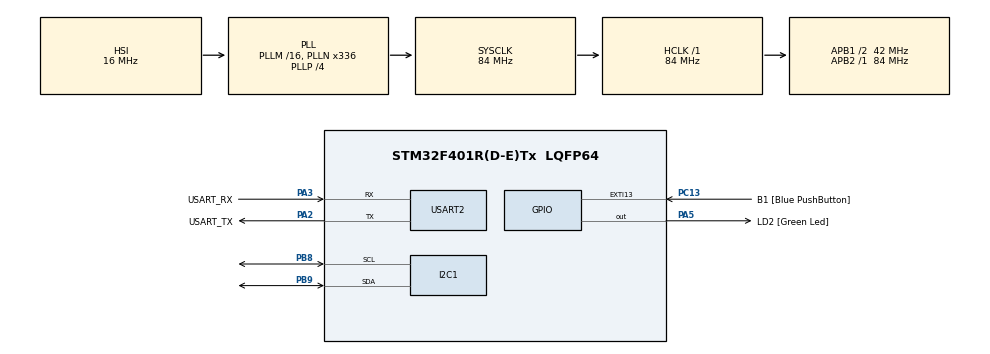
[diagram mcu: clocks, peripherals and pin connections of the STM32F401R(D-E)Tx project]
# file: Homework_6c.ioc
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Dma.I2C1_RX.0.Direction=DMA_PERIPH_TO_MEMORY
Dma.I2C1_RX.0.FIFOMode=DMA_FIFOMODE_DISABLE
Dma.I2C1_RX.0.Instance=DMA1_Stream0
Dma.I2C1_RX.0.MemDataAlignment=DMA_MDATAALIGN_BYTE
Dma.I2C1_RX.0.MemInc=DMA_MINC_ENABLE
Dma.I2C1_RX.0.Mode=DMA_NORMAL
Dma.I2C1_RX.0.PeriphDataAlignment=DMA_PDATAALIGN_BYTE
Dma.I2C1_RX.0.PeriphInc=DMA_PINC_DISABLE
Dma.I2C1_RX.0.Priority=DMA_PRIORITY_LOW
Dma.Request0=I2C1_RX
Dma.Request1=USART2_TX
Dma.USART2_TX.1.Direction=DMA_MEMORY_TO_PERIPH
Dma.USART2_TX.1.FIFOMode=DMA_FIFOMODE_DISABLE
Dma.USART2_TX.1.Instance=DMA1_Stream6
Dma.USART2_TX.1.MemDataAlignment=DMA_MDATAALIGN_BYTE
Dma.USART2_TX.1.MemInc=DMA_MINC_ENABLE
Dma.USART2_TX.1.Mode=DMA_NORMAL
Dma.USART2_TX.1.PeriphDataAlignment=DMA_PDATAALIGN_BYTE
Dma.USART2_TX.1.PeriphInc=DMA_PINC_DISABLE
Dma.USART2_TX.1.Priority=DMA_PRIORITY_LOW
Mcu.Family=STM32F4
Mcu.Name=STM32F401R(D-E)Tx
Mcu.Package=LQFP64
NVIC.DMA1_Stream0_IRQn=true\:0\:0\:false\:false\:true\:false\:true\:true
NVIC.DMA1_Stream6_IRQn=true\:0\:0\:false\:false\:true\:false\:true\:true
NVIC.I2C1_EV_IRQn=true\:0\:0\:false\:false\:true\:true\:true\:true
NVIC.PriorityGroup=NVIC_PRIORITYGROUP_0
NVIC.TIM2_IRQn=true\:0\:0\:false\:false\:true\:true\:true\:true
NVIC.USART2_IRQn=true\:0\:0\:false\:false\:true\:true\:true\:true
PA13.GPIO_Label=TMS
PA13.Mode=Serial_Wire
PA13.Signal=SYS_JTMS-SWDIO
PA14.GPIO_Label=TCK
PA14.Mode=Serial_Wire
PA14.Signal=SYS_JTCK-SWCLK
PA2.GPIO_Label=USART_TX
PA2.GPIO_Mode=GPIO_MODE_AF_PP
PA2.GPIO_PuPd=GPIO_NOPULL
PA2.GPIO_Speed=GPIO_SPEED_FREQ_LOW
PA2.Mode=Asynchronous
PA2.Signal=USART2_TX
PA3.GPIO_Label=USART_RX
PA3.GPIO_Mode=GPIO_MODE_AF_PP
PA3.GPIO_PuPd=GPIO_NOPULL
PA3.GPIO_Speed=GPIO_SPEED_FREQ_LOW
PA3.Mode=Asynchronous
PA3.Signal=USART2_RX
PA5.GPIO_Label=LD2 [Green Led]
PA5.GPIO_Mode=GPIO_MODE_OUTPUT_PP
PA5.GPIO_PuPd=GPIO_NOPULL
PA5.GPIO_Speed=GPIO_SPEED_FREQ_LOW
PA5.Signal=GPIO_Output
PB3.GPIO_Label=SWO
PB3.Signal=SYS_JTDO-SWO
PB8.Mode=I2C
PB8.Signal=I2C1_SCL
PB9.Mode=I2C
PB9.Signal=I2C1_SDA
PC13-ANTI_TAMP.GPIO_Label=B1 [Blue PushButton]
PC13-ANTI_TAMP.GPIO_ModeDefaultEXTI=GPIO_MODE_IT_FALLING
PC13-ANTI_TAMP.GPIO_PuPd=GPIO_NOPULL
PC13-ANTI_TAMP.Signal=GPXTI13
PC14-OSC32_IN.Mode=LSE-External-Oscillator
PC14-OSC32_IN.Signal=RCC_OSC32_IN
PC15-OSC32_OUT.Mode=LSE-External-Oscillator
PC15-OSC32_OUT.Signal=RCC_OSC32_OUT
PH0\ -\ OSC_IN.Mode=HSE-External-Clock-Source
PH0\ -\ OSC_IN.Signal=RCC_OSC_IN
PH1\ -\ OSC_OUT.Mode=HSE-External-Clock-Source
PH1\ -\ OSC_OUT.Signal=RCC_OSC_OUT
ProjectManager.HeapSize=0x200
ProjectManager.StackSize=0x400
ProjectManager.TargetToolchain=STM32CubeIDE
RCC.48MHZClocksFreq_Value=48000000
RCC.AHBFreq_Value=84000000
RCC.APB1CLKDivider=RCC_HCLK_DIV2
RCC.APB1Freq_Value=42000000
RCC.APB1TimFreq_Value=84000000
RCC.APB2Freq_Value=84000000
RCC.APB2TimFreq_Value=84000000
RCC.CortexFreq_Value=84000000
RCC.HCLKFreq_Value=84000000
RCC.HSE_VALUE=8000000
RCC.HSI_VALUE=16000000
RCC.PLLN=336
RCC.PLLP=RCC_PLLP_DIV4
RCC.PLLQ=7
RCC.SYSCLKFreq_VALUE=84000000
RCC.SYSCLKSource=RCC_SYSCLKSOURCE_PLLCLK
RCC.VCOOutputFreq_Value=336000000
TIM2.Period=10000-1
TIM2.Prescaler=8400-1
USART2.VirtualMode=VM_ASYNC
VP_TIM2_VS_ClockSourceINT.Mode=Internal
board=NUCLEO-F401RE

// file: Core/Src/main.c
/* USER CODE BEGIN Header */
/**
  ******************************************************************************
  * @file           : main.c
  * @brief          : Main program body
  ******************************************************************************
  * @attention
  *
  * Copyright (c) 2023 STMicroelectronics.
  * All rights reserved.
  *
  * This software is licensed under terms that can be found in the LICENSE file
  * in the root directory of this software component.
  * If no LICENSE file comes with this software, it is provided AS-IS.
  *
  ******************************************************************************
  */
/* USER CODE END Header */
#include "main.h"

/* USER CODE BEGIN Includes */
# include "stdio.h"
/* USER CODE END Includes */

I2C_HandleTypeDef hi2c1;
DMA_HandleTypeDef hdma_i2c1_rx;

TIM_HandleTypeDef htim2;

UART_HandleTypeDef huart2;
DMA_HandleTypeDef hdma_usart2_tx;

/* USER CODE BEGIN PV */
//LIS2DE
uint8_t LIS2DE_ADDRESS = 0b01010000;
//LIS2DE12
uint8_t LIS2DE12_ADDRESS = 0b00110000;

//Accelerometer is set to LIS2DE
uint8_t ACC_ADDRESS = 0b01010000;

// reg address, 1Hz + normal mode + XYZ enabled
uint8_t CTRL_REG1[] = {0x20, 0b00010111};

// reg address, HPF action configured in normal mode but bypassed, to select it set bit 3 (the fourth one) to 1
uint8_t CTRL_REG2[] = {0x21, 0b10110000};

// reg address, continuous update + 2g FSR + self test disabled (default value at startup)
uint8_t CTRL_REG4[] = {0x23, 0b00000000};

uint8_t INITIAL_ADDR = 0x29 | 0x80; // address of OUT_X, auto-increment enabled

char string[64];
int length = 0;
float acc_g_x, acc_g_y, acc_g_z = 0;
int8_t acc_data[5] = {0};

uint8_t timeout_ms = 50;

/* USER CODE END PV */

void SystemClock_Config(void);
static void MX_GPIO_Init(void);
static void MX_DMA_Init(void);
static void MX_USART2_UART_Init(void);
static void MX_I2C1_Init(void);
static void MX_TIM2_Init(void);

/* USER CODE BEGIN 0 */
void HAL_TIM_PeriodElapsedCallback(TIM_HandleTypeDef *htim){
	if (htim==&htim2){

		// Specify where to start reading
		HAL_I2C_Master_Transmit(&hi2c1, ACC_ADDRESS, &INITIAL_ADDR, 1, timeout_ms);
		HAL_I2C_Master_Receive_DMA(&hi2c1, ACC_ADDRESS+1, (uint8_t *)&acc_data, sizeof(acc_data));
	}
}

void HAL_I2C_MasterRxCpltCallback(I2C_HandleTypeDef *hi2c) {
	if (hi2c==&hi2c1){

		acc_g_x = acc_data[0] / 64.0;
		acc_g_y = acc_data[2] / 64.0;
		acc_g_z = acc_data[4] / 64.0;

		length = snprintf(string, sizeof(string), "Acceleration [g]:\r\n\n X = %+.2f g\r\n Y = %+.2f g\r\n Z = %+.2f g\r\n\n\n", acc_g_x, acc_g_y, acc_g_z);
		// the + sign ensures the sign is always printed

		HAL_UART_Transmit_DMA(&huart2, (uint8_t *)string, length);
	}
}
/* USER CODE END 0 */

int main(void)
{

  /* MCU Configuration--------------------------------------------------------*/

  /* Reset of all peripherals, Initializes the Flash interface and the Systick. */
  HAL_Init();

  /* Configure the system clock */
  SystemClock_Config();

  /* Initialize all configured peripherals */
  MX_GPIO_Init();
  MX_DMA_Init();
  MX_USART2_UART_Init();
  MX_I2C1_Init();
  MX_TIM2_Init();
  /* USER CODE BEGIN 2 */

  // Accelerometer initialization
  if(HAL_I2C_Master_Transmit(&hi2c1, LIS2DE_ADDRESS, CTRL_REG1, sizeof(CTRL_REG1), timeout_ms) == HAL_OK){
	  length = snprintf(string, sizeof(string), "LIS2DE found.\r\n");
	  HAL_I2C_Master_Transmit(&hi2c1, LIS2DE_ADDRESS, CTRL_REG2, sizeof(CTRL_REG2), timeout_ms);
	  // if the I2C writer returns OK, then we know that there is a device with the LIS2DE address on the I2C bus, and we can continue
  } else if(HAL_I2C_Master_Transmit(&hi2c1, LIS2DE12_ADDRESS, CTRL_REG1, sizeof(CTRL_REG1), timeout_ms) == HAL_OK){
  	  length = snprintf(string, sizeof(string), "LIS2DE12 found.\r\n");
  	  ACC_ADDRESS = LIS2DE12_ADDRESS;
	  // if not, we switch to LIS2DE12 and try again
  } else {
	  length = snprintf(string, sizeof(string), "I can't find an accelerometer on the I2C bus.\r\n");
  }

  HAL_UART_Transmit(&huart2, (uint8_t *)&string, length, timeout_ms);

  // Once the accelerometer is identified and recognised, the timer can be started
  HAL_TIM_Base_Start_IT(&htim2);

  /* USER CODE END 2 */

  /* Infinite loop */
  while (1)
  {

  }
}

void SystemClock_Config(void)
{
  RCC_OscInitTypeDef RCC_OscInitStruct = {0};
  RCC_ClkInitTypeDef RCC_ClkInitStruct = {0};

  /** Configure the main internal regulator output voltage
  */
  __HAL_RCC_PWR_CLK_ENABLE();
  __HAL_PWR_VOLTAGESCALING_CONFIG(PWR_REGULATOR_VOLTAGE_SCALE2);

  /** Initializes the RCC Oscillators according to the specified parameters
  * in the RCC_OscInitTypeDef structure.
  */
  RCC_OscInitStruct.OscillatorType = RCC_OSCILLATORTYPE_HSI;
  RCC_OscInitStruct.HSIState = RCC_HSI_ON;
  RCC_OscInitStruct.HSICalibrationValue = RCC_HSICALIBRATION_DEFAULT;
  RCC_OscInitStruct.PLL.PLLState = RCC_PLL_ON;
  RCC_OscInitStruct.PLL.PLLSource = RCC_PLLSOURCE_HSI;
  RCC_OscInitStruct.PLL.PLLM = 16;
  RCC_OscInitStruct.PLL.PLLN = 336;
  RCC_OscInitStruct.PLL.PLLP = RCC_PLLP_DIV4;
  RCC_OscInitStruct.PLL.PLLQ = 7;
  if (HAL_RCC_OscConfig(&RCC_OscInitStruct) != HAL_OK)
  {
    Error_Handler();
  }

  /** Initializes the CPU, AHB and APB buses clocks
  */
  RCC_ClkInitStruct.ClockType = RCC_CLOCKTYPE_HCLK|RCC_CLOCKTYPE_SYSCLK
                              |RCC_CLOCKTYPE_PCLK1|RCC_CLOCKTYPE_PCLK2;
  RCC_ClkInitStruct.SYSCLKSource = RCC_SYSCLKSOURCE_PLLCLK;
  RCC_ClkInitStruct.AHBCLKDivider = RCC_SYSCLK_DIV1;
  RCC_ClkInitStruct.APB1CLKDivider = RCC_HCLK_DIV2;
  RCC_ClkInitStruct.APB2CLKDivider = RCC_HCLK_DIV1;

  if (HAL_RCC_ClockConfig(&RCC_ClkInitStruct, FLASH_LATENCY_2) != HAL_OK)
  {
    Error_Handler();
  }
}

static void MX_I2C1_Init(void)
{

  hi2c1.Instance = I2C1;
  hi2c1.Init.ClockSpeed = 100000;
  hi2c1.Init.DutyCycle = I2C_DUTYCYCLE_2;
  hi2c1.Init.OwnAddress1 = 0;
  hi2c1.Init.AddressingMode = I2C_ADDRESSINGMODE_7BIT;
  hi2c1.Init.DualAddressMode = I2C_DUALADDRESS_DISABLE;
  hi2c1.Init.OwnAddress2 = 0;
  hi2c1.Init.GeneralCallMode = I2C_GENERALCALL_DISABLE;
  hi2c1.Init.NoStretchMode = I2C_NOSTRETCH_DISABLE;
  if (HAL_I2C_Init(&hi2c1) != HAL_OK)
  {
    Error_Handler();
  }

}

static void MX_TIM2_Init(void)
{

  TIM_ClockConfigTypeDef sClockSourceConfig = {0};
  TIM_MasterConfigTypeDef sMasterConfig = {0};

  htim2.Instance = TIM2;
  htim2.Init.Prescaler = 8400-1;
  htim2.Init.CounterMode = TIM_COUNTERMODE_UP;
  htim2.Init.Period = 10000-1;
  htim2.Init.ClockDivision = TIM_CLOCKDIVISION_DIV1;
  htim2.Init.AutoReloadPreload = TIM_AUTORELOAD_PRELOAD_DISABLE;
  if (HAL_TIM_Base_Init(&htim2) != HAL_OK)
  {
    Error_Handler();
  }
  sClockSourceConfig.ClockSource = TIM_CLOCKSOURCE_INTERNAL;
  if (HAL_TIM_ConfigClockSource(&htim2, &sClockSourceConfig) != HAL_OK)
  {
    Error_Handler();
  }
  sMasterConfig.MasterOutputTrigger = TIM_TRGO_RESET;
  sMasterConfig.MasterSlaveMode = TIM_MASTERSLAVEMODE_DISABLE;
  if (HAL_TIMEx_MasterConfigSynchronization(&htim2, &sMasterConfig) != HAL_OK)
  {
    Error_Handler();
  }

}

static void MX_USART2_UART_Init(void)
{

  huart2.Instance = USART2;
  huart2.Init.BaudRate = 115200;
  huart2.Init.WordLength = UART_WORDLENGTH_8B;
  huart2.Init.StopBits = UART_STOPBITS_1;
  huart2.Init.Parity = UART_PARITY_NONE;
  huart2.Init.Mode = UART_MODE_TX_RX;
  huart2.Init.HwFlowCtl = UART_HWCONTROL_NONE;
  huart2.Init.OverSampling = UART_OVERSAMPLING_16;
  if (HAL_UART_Init(&huart2) != HAL_OK)
  {
    Error_Handler();
  }

}

static void MX_DMA_Init(void)
{

  /* DMA controller clock enable */
  __HAL_RCC_DMA1_CLK_ENABLE();

  /* DMA interrupt init */
  /* DMA1_Stream0_IRQn interrupt configuration */
  HAL_NVIC_SetPriority(DMA1_Stream0_IRQn, 0, 0);
  HAL_NVIC_EnableIRQ(DMA1_Stream0_IRQn);
  /* DMA1_Stream6_IRQn interrupt configuration */
  HAL_NVIC_SetPriority(DMA1_Stream6_IRQn, 0, 0);
  HAL_NVIC_EnableIRQ(DMA1_Stream6_IRQn);

}

static void MX_GPIO_Init(void)
{
  GPIO_InitTypeDef GPIO_InitStruct = {0};

  /* GPIO Ports Clock Enable */
  __HAL_RCC_GPIOC_CLK_ENABLE();
  __HAL_RCC_GPIOH_CLK_ENABLE();
  __HAL_RCC_GPIOA_CLK_ENABLE();
  __HAL_RCC_GPIOB_CLK_ENABLE();

  /*Configure GPIO pin Output Level */
  HAL_GPIO_WritePin(LD2_GPIO_Port, LD2_Pin, GPIO_PIN_RESET);

  /*Configure GPIO pin : B1_Pin */
  GPIO_InitStruct.Pin = B1_Pin;
  GPIO_InitStruct.Mode = GPIO_MODE_IT_FALLING;
  GPIO_InitStruct.Pull = GPIO_NOPULL;
  HAL_GPIO_Init(B1_GPIO_Port, &GPIO_InitStruct);

  /*Configure GPIO pin : LD2_Pin */
  GPIO_InitStruct.Pin = LD2_Pin;
  GPIO_InitStruct.Mode = GPIO_MODE_OUTPUT_PP;
  GPIO_InitStruct.Pull = GPIO_NOPULL;
  GPIO_InitStruct.Speed = GPIO_SPEED_FREQ_LOW;
  HAL_GPIO_Init(LD2_GPIO_Port, &GPIO_InitStruct);

}

void Error_Handler(void)
{
  __disable_irq();
  while (1)
  {
  }
}
